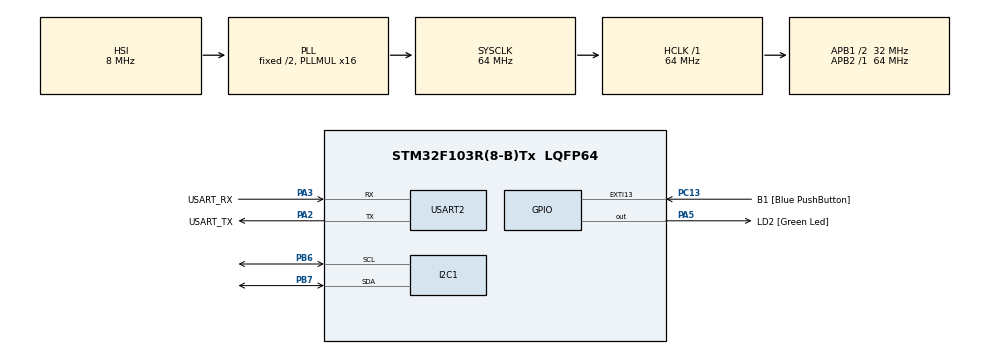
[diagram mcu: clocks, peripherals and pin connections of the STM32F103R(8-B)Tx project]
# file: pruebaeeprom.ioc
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I2C1.I2C_Mode=I2C_Fast
Mcu.Family=STM32F1
Mcu.Name=STM32F103R(8-B)Tx
Mcu.Package=LQFP64
NVIC.EXTI15_10_IRQn=true\:0\:0\:false\:false\:true\:true\:true\:true
NVIC.PriorityGroup=NVIC_PRIORITYGROUP_4
PA13.GPIO_Label=TMS
PA13.Mode=Serial_Wire
PA13.Signal=SYS_JTMS-SWDIO
PA14.GPIO_Label=TCK
PA14.Mode=Serial_Wire
PA14.Signal=SYS_JTCK-SWCLK
PA2.GPIO_Label=USART_TX
PA2.GPIO_Mode=GPIO_MODE_AF_PP
PA2.GPIO_PuPd=GPIO_NOPULL
PA2.GPIO_Speed=GPIO_SPEED_FREQ_LOW
PA2.Mode=Asynchronous
PA2.Signal=USART2_TX
PA3.GPIO_Label=USART_RX
PA3.GPIO_Mode=GPIO_MODE_AF_PP
PA3.GPIO_PuPd=GPIO_NOPULL
PA3.GPIO_Speed=GPIO_SPEED_FREQ_LOW
PA3.Mode=Asynchronous
PA3.Signal=USART2_RX
PA5.GPIO_Label=LD2 [Green Led]
PA5.GPIO_ModeDefaultOutputPP=GPIO_MODE_OUTPUT_PP
PA5.GPIO_PuPd=GPIO_NOPULL
PA5.GPIO_Speed=GPIO_SPEED_FREQ_LOW
PA5.Signal=GPIO_Output
PB3.GPIO_Label=SWO
PB3.Signal=SYS_JTDO-TRACESWO
PB6.Mode=I2C
PB6.Signal=I2C1_SCL
PB7.Mode=I2C
PB7.Signal=I2C1_SDA
PC13-TAMPER-RTC.GPIO_Label=B1 [Blue PushButton]
PC13-TAMPER-RTC.GPIO_PuPd=GPIO_NOPULL
PC13-TAMPER-RTC.Signal=GPXTI13
PC14-OSC32_IN.Mode=LSE-External-Oscillator
PC14-OSC32_IN.Signal=RCC_OSC32_IN
PC15-OSC32_OUT.Mode=LSE-External-Oscillator
PC15-OSC32_OUT.Signal=RCC_OSC32_OUT
PD0-OSC_IN.Mode=HSE-External-Clock-Source
PD0-OSC_IN.Signal=RCC_OSC_IN
PD1-OSC_OUT.Mode=HSE-External-Clock-Source
PD1-OSC_OUT.Signal=RCC_OSC_OUT
ProjectManager.HeapSize=0x200
ProjectManager.StackSize=0x400
ProjectManager.TargetToolchain=STM32CubeIDE
RCC.AHBFreq_Value=64000000
RCC.APB1CLKDivider=RCC_HCLK_DIV2
RCC.APB1Freq_Value=32000000
RCC.APB1TimFreq_Value=64000000
RCC.APB2Freq_Value=64000000
RCC.APB2TimFreq_Value=64000000
RCC.HCLKFreq_Value=64000000
RCC.PLLMUL=RCC_PLL_MUL16
RCC.RTCClockSelection=RCC_RTCCLKSOURCE_LSE
RCC.SYSCLKFreq_VALUE=64000000
RCC.SYSCLKSource=RCC_SYSCLKSOURCE_PLLCLK
RCC.USBFreq_Value=64000000
USART2.VirtualMode=VM_ASYNC
board=NUCLEO-F103RB

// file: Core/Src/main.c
/* USER CODE BEGIN Header */
/**
  ******************************************************************************
  * @file           : main.c
  * @brief          : Main program body
  ******************************************************************************
  * @attention
  *
  * Copyright (c) 2025 STMicroelectronics.
  * All rights reserved.
  *
  * This software is licensed under terms that can be found in the LICENSE file
  * in the root directory of this software component.
  * If no LICENSE file comes with this software, it is provided AS-IS.
  *
  ******************************************************************************
  */
/* USER CODE END Header */
#include "main.h"

/* USER CODE BEGIN Includes */
#include <stdint.h>
#include "EEPROM.h"
/* USER CODE END Includes */

/* USER CODE BEGIN PD */
	  char dataRead[10];
	  char dataWrite[10];
/* USER CODE END PD */

/* USER CODE BEGIN PM */
//#define ESCRIBIR
#define LEER
/* USER CODE END PM */

I2C_HandleTypeDef hi2c1;

UART_HandleTypeDef huart2;

void SystemClock_Config(void);
static void MX_GPIO_Init(void);
static void MX_USART2_UART_Init(void);
static void MX_I2C1_Init(void);

int main(void)
{

  /* MCU Configuration--------------------------------------------------------*/

  /* Reset of all peripherals, Initializes the Flash interface and the Systick. */
  HAL_Init();

  /* Configure the system clock */
  SystemClock_Config();

  /* Initialize all configured peripherals */
  MX_GPIO_Init();
  MX_USART2_UART_Init();
  MX_I2C1_Init();
  /* USER CODE BEGIN 2 */
#ifdef ESCRIBIR
  //uint32_t t_ini = HAL_GetTick();
  for (int i=0; i<512; i++){
	  EEPROM_PageErase(i);
  }
  //uint32_t delay = HAL_GetTick() - t_ini;
  char char_inicial = 'A';
  for(int i = 0; i < 10; i++){
	  dataWrite[i] = char_inicial + i;
  }
  //int largo = sizeof(dataWrite); //en efecto devuelve la cantidad de elementos en el array
  EEPROM_Write(0, 0, (uint8_t *)dataWrite, 10);
#endif

#ifdef LEER
  EEPROM_Read(0, 0, (uint8_t *)dataRead, 10);
#endif
  /* USER CODE END 2 */

  /* Infinite loop */
  while (1){
  }
  }

void SystemClock_Config(void)
{
  RCC_OscInitTypeDef RCC_OscInitStruct = {0};
  RCC_ClkInitTypeDef RCC_ClkInitStruct = {0};

  /** Initializes the RCC Oscillators according to the specified parameters
  * in the RCC_OscInitTypeDef structure.
  */
  RCC_OscInitStruct.OscillatorType = RCC_OSCILLATORTYPE_HSI;
  RCC_OscInitStruct.HSIState = RCC_HSI_ON;
  RCC_OscInitStruct.HSICalibrationValue = RCC_HSICALIBRATION_DEFAULT;
  RCC_OscInitStruct.PLL.PLLState = RCC_PLL_ON;
  RCC_OscInitStruct.PLL.PLLSource = RCC_PLLSOURCE_HSI_DIV2;
  RCC_OscInitStruct.PLL.PLLMUL = RCC_PLL_MUL16;
  if (HAL_RCC_OscConfig(&RCC_OscInitStruct) != HAL_OK)
  {
    Error_Handler();
  }

  /** Initializes the CPU, AHB and APB buses clocks
  */
  RCC_ClkInitStruct.ClockType = RCC_CLOCKTYPE_HCLK|RCC_CLOCKTYPE_SYSCLK
                              |RCC_CLOCKTYPE_PCLK1|RCC_CLOCKTYPE_PCLK2;
  RCC_ClkInitStruct.SYSCLKSource = RCC_SYSCLKSOURCE_PLLCLK;
  RCC_ClkInitStruct.AHBCLKDivider = RCC_SYSCLK_DIV1;
  RCC_ClkInitStruct.APB1CLKDivider = RCC_HCLK_DIV2;
  RCC_ClkInitStruct.APB2CLKDivider = RCC_HCLK_DIV1;

  if (HAL_RCC_ClockConfig(&RCC_ClkInitStruct, FLASH_LATENCY_2) != HAL_OK)
  {
    Error_Handler();
  }
}

static void MX_I2C1_Init(void)
{

  hi2c1.Instance = I2C1;
  hi2c1.Init.ClockSpeed = 400000;
  hi2c1.Init.DutyCycle = I2C_DUTYCYCLE_2;
  hi2c1.Init.OwnAddress1 = 0;
  hi2c1.Init.AddressingMode = I2C_ADDRESSINGMODE_7BIT;
  hi2c1.Init.DualAddressMode = I2C_DUALADDRESS_DISABLE;
  hi2c1.Init.OwnAddress2 = 0;
  hi2c1.Init.GeneralCallMode = I2C_GENERALCALL_DISABLE;
  hi2c1.Init.NoStretchMode = I2C_NOSTRETCH_DISABLE;
  if (HAL_I2C_Init(&hi2c1) != HAL_OK)
  {
    Error_Handler();
  }

}

static void MX_USART2_UART_Init(void)
{

  huart2.Instance = USART2;
  huart2.Init.BaudRate = 115200;
  huart2.Init.WordLength = UART_WORDLENGTH_8B;
  huart2.Init.StopBits = UART_STOPBITS_1;
  huart2.Init.Parity = UART_PARITY_NONE;
  huart2.Init.Mode = UART_MODE_TX_RX;
  huart2.Init.HwFlowCtl = UART_HWCONTROL_NONE;
  huart2.Init.OverSampling = UART_OVERSAMPLING_16;
  if (HAL_UART_Init(&huart2) != HAL_OK)
  {
    Error_Handler();
  }

}

static void MX_GPIO_Init(void)
{
  GPIO_InitTypeDef GPIO_InitStruct = {0};

  /* GPIO Ports Clock Enable */
  __HAL_RCC_GPIOC_CLK_ENABLE();
  __HAL_RCC_GPIOD_CLK_ENABLE();
  __HAL_RCC_GPIOA_CLK_ENABLE();
  __HAL_RCC_GPIOB_CLK_ENABLE();

  /*Configure GPIO pin Output Level */
  HAL_GPIO_WritePin(LD2_GPIO_Port, LD2_Pin, GPIO_PIN_RESET);

  /*Configure GPIO pin : B1_Pin */
  GPIO_InitStruct.Pin = B1_Pin;
  GPIO_InitStruct.Mode = GPIO_MODE_IT_RISING;
  GPIO_InitStruct.Pull = GPIO_NOPULL;
  HAL_GPIO_Init(B1_GPIO_Port, &GPIO_InitStruct);

  /*Configure GPIO pin : LD2_Pin */
  GPIO_InitStruct.Pin = LD2_Pin;
  GPIO_InitStruct.Mode = GPIO_MODE_OUTPUT_PP;
  GPIO_InitStruct.Pull = GPIO_NOPULL;
  GPIO_InitStruct.Speed = GPIO_SPEED_FREQ_LOW;
  HAL_GPIO_Init(LD2_GPIO_Port, &GPIO_InitStruct);

  /* EXTI interrupt init*/
  HAL_NVIC_SetPriority(EXTI15_10_IRQn, 0, 0);
  HAL_NVIC_EnableIRQ(EXTI15_10_IRQn);

}

void Error_Handler(void)
{
  __disable_irq();
  while (1)
  {
  }
}
